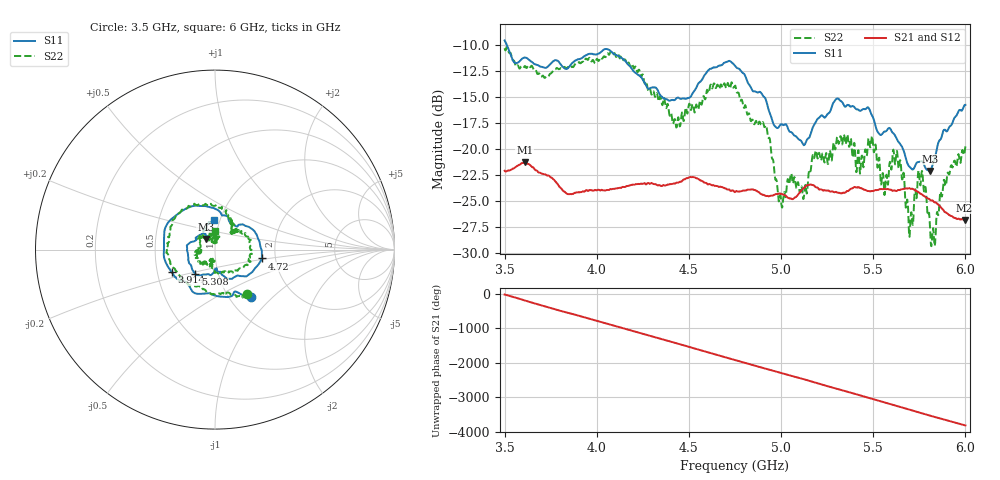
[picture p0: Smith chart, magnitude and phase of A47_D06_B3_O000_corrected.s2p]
! Created with skrf 1.9.0 (http://scikit-rf.org).
# Hz S RI R 50.0
!freq ReS11 ImS11 ReS21 ImS21 ReS12 ImS12 ReS22 ImS22
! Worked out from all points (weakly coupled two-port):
!   1601 points, 3.5 GHz to 6 GHz, reference 50 ohm
!   highest |S21| = -21.28 dB at 3.609 GHz (marker M1); lowest = -26.8 dB at 5.995 GHz (marker M2)
!   lowest |S11| = -22.1 dB at 5.806 GHz (marker M3), VSWR 1.17, Z = 44.8 + j5.38 ohm
!   |S11| at or under -10 dB: 3.512 GHz to end of sweep
!   |S22| runs from -29.3 to -10.2 dB; largest |S21 - S12| = 0.00088
!   S11 on the Smith chart (normalised r, x): 3.5 GHz: 1.26, -0.75; 3.914 GHz: 0.59, -0.16; 4.72 GHz: 1.69, -0.18; 5.308 GHz: 0.78, -0.22; 6 GHz: 0.93, +0.31
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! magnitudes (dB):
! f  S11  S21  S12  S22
! 3.5 GHz  -9.6  -22.1  -22.1  -10.3
! 3.609 GHz  -11.2  -21.3  -21.3  -12.0
! 3.914 GHz  -11.3  -24.1  -24.1  -11.7
! 3.917 GHz  -11.3  -24.1  -24.1  -11.7
! 4.125 GHz  -11.1  -23.7  -23.7  -11.3
! 4.334 GHz  -14.5  -23.5  -23.4  -15.4
! 4.442 GHz  -15.0  -23.2  -23.2  -16.9
! 4.72 GHz  -11.5  -23.9  -23.9  -14.2
! 4.75 GHz  -12.0  -24.1  -24.0  -13.9
! 4.914 GHz  -15.1  -24.5  -24.4  -17.8
! 4.997 GHz  -17.6  -24.3  -24.2  -24.5
! 5.13 GHz  -19.5  -23.6  -23.6  -23.6
! 5.167 GHz  -18.1  -23.4  -23.4  -21.0
! 5.308 GHz  -15.1  -24.2  -24.1  -19.0
! 5.486 GHz  -16.5  -24.1  -24.0  -19.7
! 5.584 GHz  -18.0  -23.9  -23.8  -22.3
! 5.638 GHz  -19.3  -23.9  -23.9  -21.8
! 5.705 GHz  -21.8  -23.8  -23.8  -26.2
! 5.756 GHz  -21.2  -24.3  -24.2  -23.5
! 5.806 GHz  -22.1  -24.8  -24.8  -26.9
! 5.995 GHz  -15.8  -26.8  -26.7  -20.4
! 6 GHz  -15.7  -26.8  -26.7  -19.7
